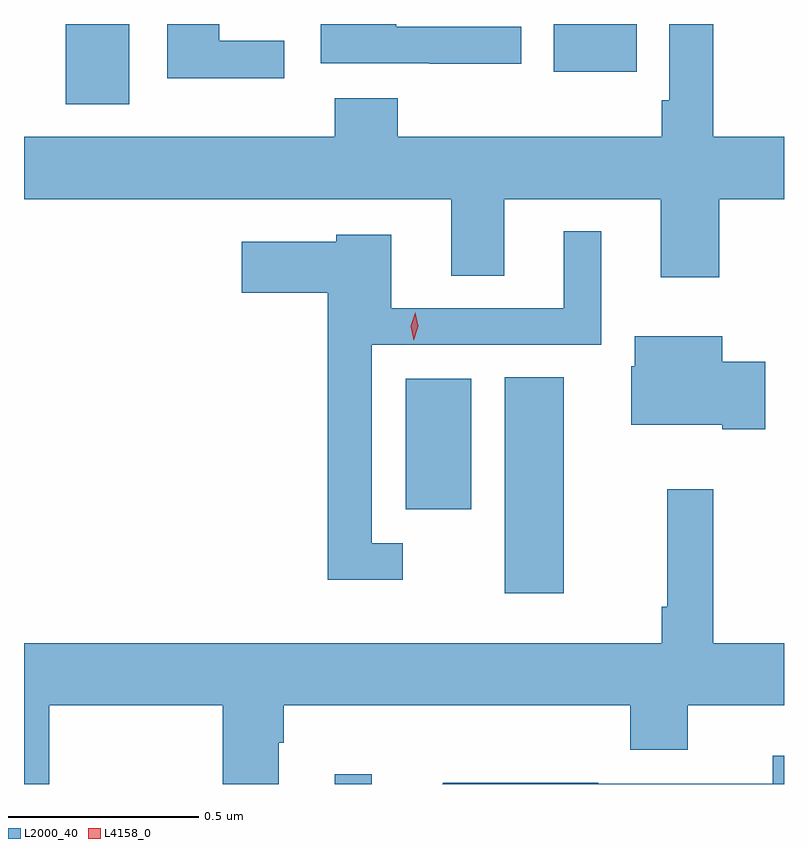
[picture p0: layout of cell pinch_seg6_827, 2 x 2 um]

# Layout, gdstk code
import gdstk
lib = gdstk.Library(unit=1e-6, precision=1e-09)
def R(c, l, rs):  # rectangles x0, y0, x1, y1
    for r in rs: c.add(gdstk.rectangle(r[:2], r[2:], *l))
def P(c, l, *ps):  # polygons
    for p in ps: c.add(gdstk.Polygon(p, *l))
L2000_40 = (2000, 40)
L4158_0 = (4158, 0)

pinch_seg6_827 = lib.new_cell('pinch_seg6_827')
R(pinch_seg6_827, L2000_40, [(156.479,983.093,156.576,983.119), (156.926,983.595,157.081,984.164), (156.665,983.816,156.838,984.16), (155.771,984.882,155.938,985.093), (157.055,984.968,157.274,985.093)])
P(pinch_seg6_827, L2000_40, [(156.97,985.086),(156.64,985.086),(156.64,985.093),(156.442,985.093),(156.442,984.99),(156.727,984.99),(156.727,984.989),(156.97,984.989)],
  [(156.346,985.049),(156.175,985.049),(156.175,985.093),(156.038,985.093),(156.038,984.95),(156.346,984.95)],
  [(157.49,984.632),(157.661,984.632),(157.661,984.796),(157.475,984.796),(157.475,985.093),(157.359,985.093),(157.359,984.892),(157.339,984.892),(157.339,984.796),(156.644,984.796),(156.644,984.898),(156.479,984.898),(156.479,984.796),(155.661,984.796),(155.661,984.632),(156.785,984.632),(156.785,984.43),(156.925,984.43),(156.925,984.632),(157.337,984.632),(157.337,984.426),(157.49,984.426)],
  [(156.658,983.727),(156.576,983.727),(156.576,984.249),(157.18,984.249),(157.18,984.547),(157.082,984.547),(157.082,984.345),(156.628,984.345),(156.628,984.538),(156.483,984.538),(156.483,984.52),(156.234,984.52),(156.234,984.386),(156.46,984.386),(156.46,983.63),(156.658,983.63)],
  [(157.612,984.204),(157.498,984.204),(157.498,984.271),(157.268,984.271),(157.268,984.192),(157.259,984.192),(157.259,984.038),(157.499,984.038),(157.499,984.026),(157.612,984.026)],
  [(155.727,983.3),(156.184,983.3),(156.184,983.093),(156.331,983.093),(156.331,983.202),(156.344,983.202),(156.344,983.3),(157.256,983.3),(157.256,983.183),(157.408,983.183),(157.408,983.3),(157.661,983.3),(157.661,983.464),(157.475,983.464),(157.475,983.869),(157.354,983.869),(157.354,983.56),(157.339,983.56),(157.339,983.464),(155.661,983.464),(155.661,983.093),(155.727,983.093)],
  [(157.661,983.167),(157.632,983.167),(157.632,983.094),(157.172,983.094),(157.172,983.096),(156.764,983.096),(156.761,983.093),(157.661,983.093)])
P(pinch_seg6_827, L4158_0, [(156.686,984.261),(156.686,984.261),(156.679,984.298),(156.691,984.333),(156.691,984.334),(156.691,984.333),(156.698,984.297),(156.686,984.261)])

lib.write_gds('pinch_seg6_827.gds')
